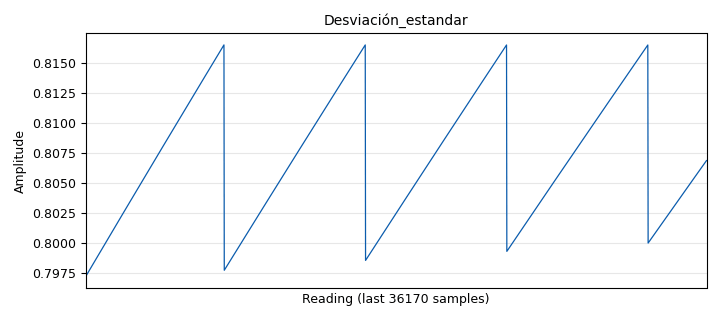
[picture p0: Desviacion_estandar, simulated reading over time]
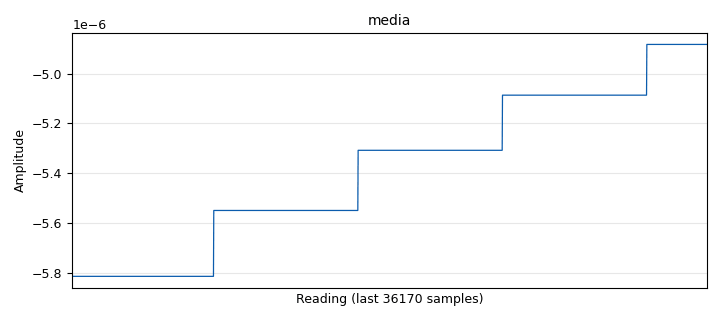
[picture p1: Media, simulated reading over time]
options:
  parameters:
    generate_options: qt_gui
    id: Punto4
    output_language: python
    title: Not titled yet
  states: {}

blocks:
- name: samp_rate
  id: variable
  parameters:
    value: '32000'
  states: {}
- name: Desviacion_estandar
  id: qtgui_number_sink
  parameters:
    graph_type: qtgui.NUM_GRAPH_HORIZ
    name: Desviación_estandar
    type: float
  states: {}
- name: Media
  id: qtgui_number_sink
  parameters:
    graph_type: qtgui.NUM_GRAPH_HORIZ
    name: media
    type: float
  states: {}
- name: Media_cuadratica
  id: qtgui_number_sink
  parameters:
    graph_type: qtgui.NUM_GRAPH_HORIZ
    name: Media_cuadrática
    type: float
  states: {}
- name: Potencia_promedio
  id: qtgui_number_sink
  parameters:
    graph_type: qtgui.NUM_GRAPH_HORIZ
    name: Potencia_promedio
    type: float
  states: {}
- name: RMS
  id: qtgui_number_sink
  parameters:
    graph_type: qtgui.NUM_GRAPH_HORIZ
    name: RMS
    type: float
  states: {}
- name: blocks_vector_source_x_0
  id: blocks_vector_source_x
  parameters:
    repeat: 'True'
    type: float
    vector: (-1, 0, 1)
  states: {}
- name: epy_block_0
  id: epy_block
  parameters:
    _source_code: "import numpy as np\nfrom gnuradio import gr\n\nclass blk (gr. sync_block ):\n\n\tdef __init__ ( self ) : # only default arguments here\n\t\tgr. sync_block . __init__ (\n\t\t\tself ,\n\t\t\tname =\" Promedios_de_tiempos \", # will show up in GRC\n\t\t\tin_sig =[ np. float32 ],\n\t\t\tout_sig =[ np. float32 ,np. float32 ,np. float32 ,np. float32 ,np. float32 ]\n\t\t)\n\t\tself . acum_anterior = 0\n\t\tself . Ntotales = 0\n\t\tself . acum_anterior1 = 0\n\t\tself . acum_anterior2 = 0\n\t\t\n\tdef work (self , input_items , output_items ):\n\t\tx = input_items [0] # Senial de entrada .\n\t\ty0 = output_items [0] # Promedio de la senial\n\t\ty1 = output_items [1] # Media de la senial\n\t\ty2 = output_items [2] # RMS de la senial\n\t\ty3 = output_items [3] # Potencia promedio de la senial\n\t\ty4 = output_items [4] # Desviacion estandar de la senial\n\t\t\n\t\t# Calculo del promedio\n\t\tN = len (x)\n\t\tself . Ntotales = self . Ntotales + N\n\t\tacumulado = self . acum_anterior + np. cumsum (x)\n\t\tself . acum_anterior = acumulado [N -1]\n\t\ty0 [:]= acumulado / self . Ntotales\n\t\t\n\t\t# Calculo de la media cuadratica\n\t\tx2=np. multiply (x,x)\n\t\tacumulado1 = self . acum_anterior1 + np. cumsum (x2)\n\t\tself . acum_anterior1 = acumulado1 [N -1]\n\t\ty1 [:] = acumulado1 / self . Ntotales\n\t\t\n\t\t# Calculo de la RMS\n\t\ty2 [:] = np. sqrt (y1)\n\t\t\n\t\t# Calculo de la potencia promedio\n\t\ty3 [:] = np. multiply (y2 ,y2)\n\t\t\n\t\t# Calculo de la desviacion estandar\n\t\tx3 = np. multiply (x-y0 ,x-y0)\n\t\tacumulado2 = self . acum_anterior2 + np. cumsum (x3)\n\t\tself . acum_anterior2 = acumulado2 [N -1]\n\t\ty4 [:] = np. sqrt ( acumulado2 / self . Ntotales )\n\t\t\n\t\treturn len (x)\n\t\t\n\n\n"
  states: {}

connections:
- [blocks_vector_source_x_0, '0', epy_block_0, '0']
- [epy_block_0, '0', Media, '0']
- [epy_block_0, '1', Media_cuadratica, '0']
- [epy_block_0, '2', RMS, '0']
- [epy_block_0, '3', Potencia_promedio, '0']
- [epy_block_0, '4', Desviacion_estandar, '0']

metadata:
  file_format: 1
